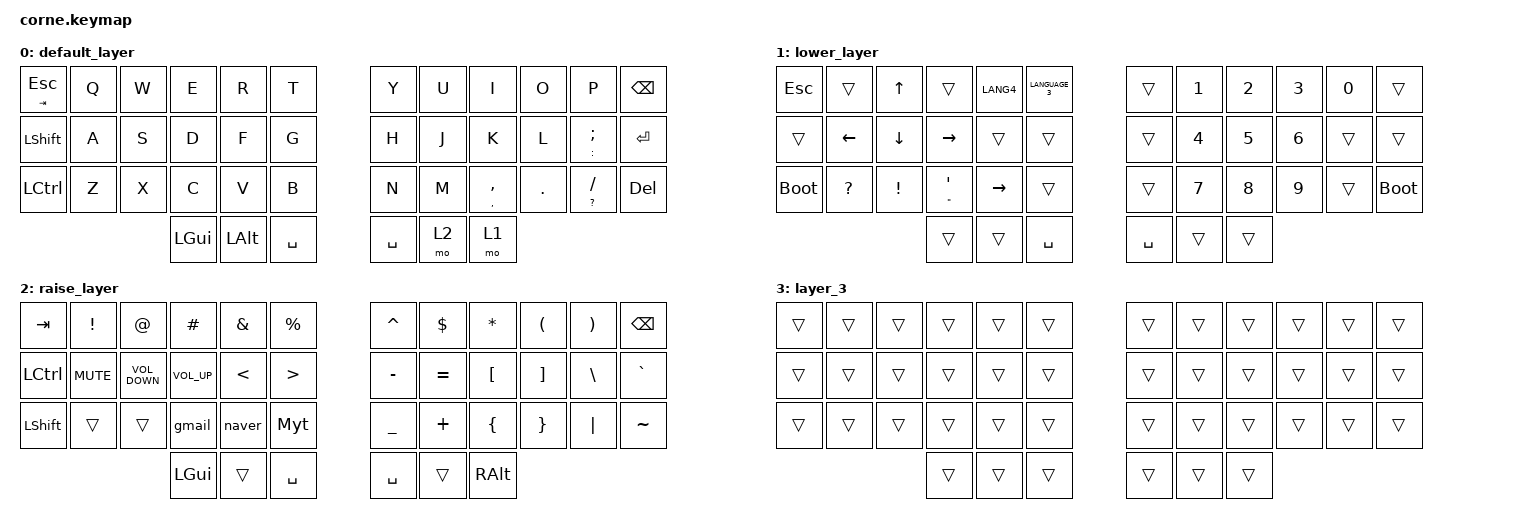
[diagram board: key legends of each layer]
/*
 * Copyright (c) 2020 The ZMK Contributors
 *
 * SPDX-License-Identifier: MIT
 */

#include <behaviors.dtsi>
#include <dt-bindings/zmk/keys.h>

/ {
    combos {
        compatible = "zmk,combos";

        Escape {
            bindings = <&kp ESC>;
            key-positions = <0 11>;
        };

        OpenParenthesis {
            bindings = <&kp LEFT_PARENTHESIS>;
            key-positions = <6 7>;
        };

        OpenBrace {
            bindings = <&kp LEFT_BRACE>;
            key-positions = <18 19>;
        };

        OpenBracket {
            bindings = <&kp LEFT_BRACKET>;
            key-positions = <30 31>;
        };

        CloseParenthasis {
            bindings = <&kp RIGHT_PARENTHESIS>;
            key-positions = <8 7>;
        };

        CloseBrace {
            bindings = <&kp RIGHT_BRACE>;
            key-positions = <19 20>;
        };

        CloseBracket {
            bindings = <&kp RIGHT_BRACKET>;
            key-positions = <31 32>;
        };

        LessThan {
            bindings = <&kp LESS_THAN>;
            key-positions = <3 4>;
        };

        GreatherThan {
            bindings = <&kp GREATER_THAN>;
            key-positions = <4 5>;
        };

        Enter {
            bindings = <&kp ENTER>;
            key-positions = <38 39>;
        };

        hangul {
            bindings = <&kp LANG_HANGEUL>;
            key-positions = <28 29>;
        };

        boo {
            bindings = <&bootloader>;
            key-positions = <0 1 2>;
        };

        v {
            bindings = <&bootloader>;
            key-positions = <10 11 9>;
        };
    };

    macros {
        Myt: Myt {
            compatible = "zmk,behavior-macro";
            #binding-cells = <0>;
            bindings = <&kp LS(M) &kp Y &kp T &kp N1 &kp N0 &kp N2 &kp N9 &kp N3 &kp N8 &kp PRCNT>;
            label = "MYT";
        };

        naver: naver {
            compatible = "zmk,behavior-macro";
            #binding-cells = <0>;
            bindings = <&none &kp C &kp H &kp C &kp H &kp C &kp H &kp C &kp H &kp C &kp H &kp C &kp H &kp C &kp H &kp C &kp H &kp C &kp H &kp C &kp H &kp AT &kp N &kp A &kp V &kp E &kp R &kp DOT &kp C &kp O &kp M>;
            label = "NAVER";
        };

        gmail: gmail {
            compatible = "zmk,behavior-macro";
            #binding-cells = <0>;
            bindings = <&none &kp M &kp Y &kp T &kp N1 &kp N2 &kp N3 &kp N4 &kp N5 &kp N6 &kp N8 &kp N1 &kp AT &kp G &kp M &kp A &kp I &kp L &kp DOT &kp C &kp O &kp M>;
            label = "GMAIL";
        };
    };

    keymap {
        compatible = "zmk,keymap";

        default_layer {
            // -----------------------------------------------------------------------------------------
            // |  TAB |  Q  |  W  |  E  |  R  |  T  |   |  Y  |  U   |  I  |  O  |  P  | BSPC |
            // | SHFT |  A  |  S  |  D  |  F  |  G  |   |  H  |  J   |  K  |  L  |  ;  | ENTR |
            // | CTRL |  Z  |  X  |  C  |  V  |  B  |   |  N  |  M   | ./, | '/" |  /* | EQU |
            //                    | GUI | LWR | SPC |   | SPC | L2   | L1  |

            bindings = <
&mt TAB ESC     &kp Q  &kp W  &kp E     &kp R         &kp T        &kp Y      &kp U  &kp I            &kp O    &kp P              &kp BSPC
&kp LEFT_SHIFT  &kp A  &kp S  &kp D     &kp F         &kp G        &kp H      &kp J  &kp K            &kp L    &mt COLON SEMI     &kp ENTER
&kp LCTRL       &kp Z  &kp X  &kp C     &kp V         &kp B        &kp N      &kp M  &mt COMMA COMMA  &kp DOT  &mt QUESTION FSLH  &kp DELETE
                              &kp LGUI  &kp LEFT_ALT  &kp SPACE    &kp SPACE  &mo 2  &mo 1
            >;
        };

        lower_layer {
            // -----------------------------------------------------------------------------------------
            // | SYSR |     |     |     |     |     |   |     |  1  |  2  |  3  |  0  |      |
            // |      |     |     | UP  |     |     |   |     |  4  |  5  |  6  |     |      |
            // |      |     | LFT | DWN | RGT |     |   |     |  7  |  8  |  9  |     |      |
            //                    |     |     | SPC |   | SPC |     |     |

            bindings = <
&kp ESC      &trans        &kp UP           &trans                        &kp LANG4  &kp LANGUAGE_3    &trans     &kp NUMBER_1  &kp NUMBER_2  &kp NUMBER_3  &kp N0  &trans
&trans       &kp LEFT      &kp DOWN         &kp RIGHT                     &trans     &trans            &trans     &kp NUMBER_4  &kp NUMBER_5  &kp NUMBER_6  &trans  &trans
&bootloader  &kp QUESTION  &kp EXCLAMATION  &mt DOUBLE_QUOTES APOSTROPHE  &kp RIGHT  &trans            &trans     &kp NUMBER_7  &kp NUMBER_8  &kp NUMBER_9  &trans  &bootloader
                                            &trans                        &trans     &kp SPACE         &kp SPACE  &trans        &trans
            >;
        };

        raise_layer {
            // -----------------------------------------------------------------------------------------
            // |  TAB |  !  |  @  |  #  |  &  |  %  |   |  ^  |  $  |  *  |  (  |  )  | BSPC |
            // | CTRL |MUTE |V_UP |V_DWN|  <  |  >  |   |  -  |  =  |  [  |  ]  |  \  |  `   |
            // | SHFT |     |     |     |     |     |   |  _  |  +  |  {  |  }  | "|" |  ~   |
            //                    | GUI |     | SPC |   | SPC |     | ALT |

            bindings = <
&kp TAB    &kp EXCL    &kp AT             &kp HASH         &kp AMPERSAND  &kp PRCNT           &kp CARET  &kp DOLLAR  &kp ASTRK  &kp LPAR  &kp RPAR  &kp BSPC
&kp LCTRL  &kp C_MUTE  &kp C_VOLUME_DOWN  &kp C_VOLUME_UP  &kp LESS_THAN  &kp GREATER_THAN    &kp MINUS  &kp EQUAL   &kp LBKT   &kp RBKT  &kp BSLH  &kp GRAVE
&kp LSHFT  &trans      &trans             &gmail           &naver         &Myt                &kp UNDER  &kp PLUS    &kp LBRC   &kp RBRC  &kp PIPE  &kp TILDE
                                          &kp LGUI         &trans         &kp SPACE           &kp SPACE  &trans      &kp RALT
            >;
        };

        layer_3 {
            bindings = <
&trans  &trans  &trans  &trans  &trans  &trans    &trans  &trans  &trans  &trans  &trans  &trans
&trans  &trans  &trans  &trans  &trans  &trans    &trans  &trans  &trans  &trans  &trans  &trans
&trans  &trans  &trans  &trans  &trans  &trans    &trans  &trans  &trans  &trans  &trans  &trans
                        &trans  &trans  &trans    &trans  &trans  &trans
            >;
        };
    };
};

//For new Layers
// -----------------------------------------------------------------------------------------
// |      |     |     |     |     |     |   |     |     |     |     |     |      |
// |      |     |     |     |     |     |   |     |     |     |     |     |      |
// |      |     |     |     |     |     |   |     |     |     |     |     |      |
//                    |     |     |     |   |     |     |     |
